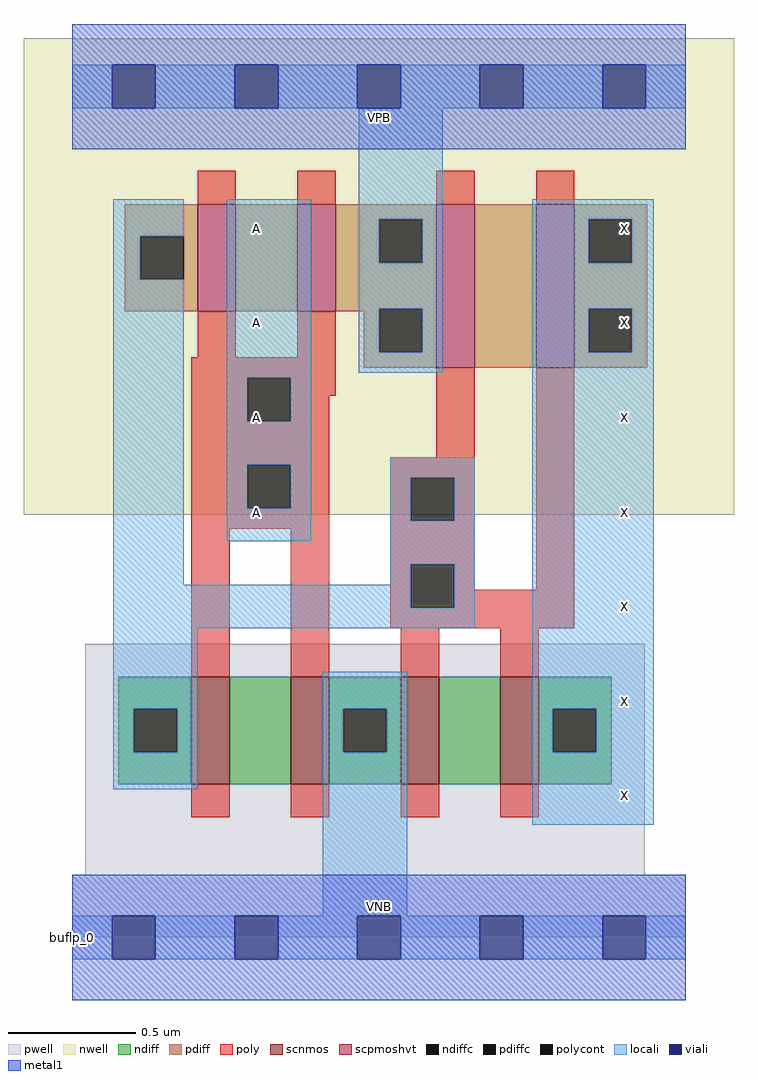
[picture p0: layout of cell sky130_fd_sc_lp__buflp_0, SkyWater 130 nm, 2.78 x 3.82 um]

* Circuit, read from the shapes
.subckt sky130_fd_sc_lp__buflp_0 A VGND VNB VPB VPWR X
XM1 n1 A n2 VNB sky130_fd_pr__nfet_01v8 w=0.42 l=0.15
XM2 VGND A n1 VNB sky130_fd_pr__nfet_01v8 w=0.42 l=0.15
XM3 n3 n2 VGND VNB sky130_fd_pr__nfet_01v8 w=0.42 l=0.15
XM4 X n2 n3 VNB sky130_fd_pr__nfet_01v8 w=0.42 l=0.15
XM5 n4 A n2 VPB sky130_fd_pr__pfet_01v8_hvt w=0.42 l=0.15
XM6 VPWR A n4 VPB sky130_fd_pr__pfet_01v8_hvt w=0.42 l=0.15
XM7 n5 n2 VPWR VPB sky130_fd_pr__pfet_01v8_hvt w=0.64 l=0.15
XM8 X n2 n5 VPB sky130_fd_pr__pfet_01v8_hvt w=0.64 l=0.15
.ends

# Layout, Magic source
magic
tech sky130A
magscale 1 2
<< nwell >>
rect -38 331 518 704
<< pwell >>
rect 10 49 448 230
rect 0 0 480 49
<< scnmos >>
rect 93 120 123 204
rect 171 120 201 204
rect 257 120 287 204
rect 335 120 365 204
<< scpmoshvt >>
rect 98 490 128 574
rect 176 490 206 574
rect 285 446 315 574
rect 363 446 393 574
<< ndiff >>
rect 36 179 93 204
rect 36 145 48 179
rect 82 145 93 179
rect 36 120 93 145
rect 123 120 171 204
rect 201 179 257 204
rect 201 145 212 179
rect 246 145 257 179
rect 201 120 257 145
rect 287 120 335 204
rect 365 179 422 204
rect 365 145 376 179
rect 410 145 422 179
rect 365 120 422 145
<< pdiff >>
rect 41 549 98 574
rect 41 515 53 549
rect 87 515 98 549
rect 41 490 98 515
rect 128 490 176 574
rect 206 562 285 574
rect 206 528 240 562
rect 274 528 285 562
rect 206 492 285 528
rect 206 490 240 492
rect 228 458 240 490
rect 274 458 285 492
rect 228 446 285 458
rect 315 446 363 574
rect 393 562 450 574
rect 393 528 404 562
rect 438 528 450 562
rect 393 492 450 528
rect 393 458 404 492
rect 438 458 450 492
rect 393 446 450 458
<< ndiffc >>
rect 48 145 82 179
rect 212 145 246 179
rect 376 145 410 179
<< pdiffc >>
rect 53 515 87 549
rect 240 528 274 562
rect 240 458 274 492
rect 404 528 438 562
rect 404 458 438 492
<< poly >>
rect 98 574 128 600
rect 176 574 206 600
rect 285 574 315 600
rect 363 574 393 600
rect 98 454 128 490
rect 176 454 206 490
rect 93 438 206 454
rect 93 404 137 438
rect 171 424 206 438
rect 171 404 201 424
rect 93 370 201 404
rect 285 376 315 446
rect 93 336 137 370
rect 171 336 201 370
rect 93 320 201 336
rect 93 204 123 320
rect 171 204 201 320
rect 249 360 315 376
rect 249 326 265 360
rect 299 326 315 360
rect 249 292 315 326
rect 249 258 265 292
rect 299 272 315 292
rect 363 272 393 446
rect 299 258 393 272
rect 249 242 393 258
rect 257 204 287 242
rect 335 204 365 242
rect 93 94 123 120
rect 171 94 201 120
rect 257 94 287 120
rect 335 94 365 120
<< polycont >>
rect 137 404 171 438
rect 137 336 171 370
rect 265 326 299 360
rect 265 258 299 292
<< locali >>
rect 0 649 31 683
rect 65 649 127 683
rect 161 649 223 683
rect 257 649 319 683
rect 353 649 415 683
rect 449 649 480 683
rect 32 549 87 578
rect 32 515 53 549
rect 32 276 87 515
rect 121 438 187 578
rect 224 562 290 649
rect 224 528 240 562
rect 274 528 290 562
rect 224 492 290 528
rect 224 458 240 492
rect 274 458 290 492
rect 224 442 290 458
rect 360 562 455 578
rect 360 528 404 562
rect 438 528 455 562
rect 360 492 455 528
rect 360 458 404 492
rect 438 458 455 492
rect 121 404 137 438
rect 171 404 187 438
rect 121 370 187 404
rect 121 336 137 370
rect 171 336 187 370
rect 121 310 187 336
rect 249 360 315 376
rect 249 326 265 360
rect 299 326 315 360
rect 249 292 315 326
rect 249 276 265 292
rect 32 258 265 276
rect 299 258 315 292
rect 32 242 315 258
rect 32 179 98 242
rect 32 145 48 179
rect 82 145 98 179
rect 32 116 98 145
rect 196 179 262 208
rect 196 145 212 179
rect 246 145 262 179
rect 196 17 262 145
rect 360 179 455 458
rect 360 145 376 179
rect 410 145 455 179
rect 360 88 455 145
rect 0 -17 31 17
rect 65 -17 127 17
rect 161 -17 223 17
rect 257 -17 319 17
rect 353 -17 415 17
rect 449 -17 480 17
<< viali >>
rect 31 649 65 683
rect 127 649 161 683
rect 223 649 257 683
rect 319 649 353 683
rect 415 649 449 683
rect 31 -17 65 17
rect 127 -17 161 17
rect 223 -17 257 17
rect 319 -17 353 17
rect 415 -17 449 17
<< metal1 >>
rect 0 683 480 715
rect 0 649 31 683
rect 65 649 127 683
rect 161 649 223 683
rect 257 649 319 683
rect 353 649 415 683
rect 449 649 480 683
rect 0 617 480 649
rect 0 17 480 49
rect 0 -17 31 17
rect 65 -17 127 17
rect 161 -17 223 17
rect 257 -17 319 17
rect 353 -17 415 17
rect 449 -17 480 17
rect 0 -49 480 -17
<< labels >>
flabel pwell s 0 0 480 49 0 FreeSans 200 0 0 0 VNB
port 3 nsew ground bidirectional
flabel nwell s 0 617 480 666 0 FreeSans 200 0 0 0 VPB
port 4 nsew power bidirectional
rlabel comment s 0 0 0 0 4 buflp_0
flabel metal1 s 0 617 480 666 0 FreeSans 340 0 0 0 VPWR
port 5 nsew power bidirectional
flabel metal1 s 0 0 480 49 0 FreeSans 340 0 0 0 VGND
port 2 nsew ground bidirectional
flabel locali s 127 316 161 350 0 FreeSans 340 0 0 0 A
port 1 nsew signal input
flabel locali s 127 390 161 424 0 FreeSans 340 0 0 0 A
port 1 nsew signal input
flabel locali s 127 464 161 498 0 FreeSans 340 0 0 0 A
port 1 nsew signal input
flabel locali s 127 538 161 572 0 FreeSans 340 0 0 0 A
port 1 nsew signal input
flabel locali s 415 94 449 128 0 FreeSans 340 0 0 0 X
port 6 nsew signal output
flabel locali s 415 168 449 202 0 FreeSans 340 0 0 0 X
port 6 nsew signal output
flabel locali s 415 242 449 276 0 FreeSans 340 0 0 0 X
port 6 nsew signal output
flabel locali s 415 316 449 350 0 FreeSans 340 0 0 0 X
port 6 nsew signal output
flabel locali s 415 390 449 424 0 FreeSans 340 0 0 0 X
port 6 nsew signal output
flabel locali s 415 464 449 498 0 FreeSans 340 0 0 0 X
port 6 nsew signal output
flabel locali s 415 538 449 572 0 FreeSans 340 0 0 0 X
port 6 nsew signal output
<< properties >>
string LEFsite unit
string LEFclass CORE
string FIXED_BBOX 0 0 480 666
string GDS_FILE $PDKPATH/libs.ref/sky130_fd_sc_lp/gds/sky130_fd_sc_lp.gds
string LEFsymmetry X Y R90
string GDS_END 6973660
string GDS_START 6968628
<< end >>
